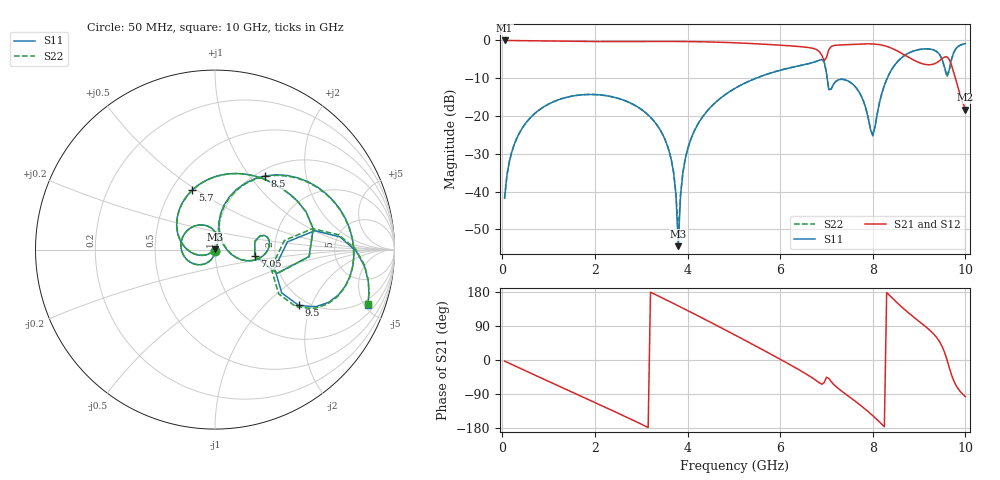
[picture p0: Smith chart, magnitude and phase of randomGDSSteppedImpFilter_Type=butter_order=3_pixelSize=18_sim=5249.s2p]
! freq	dB(S11)	phase(S11)	dB(S12)	phase(S12)
!  dB(S21)	phase(S21)	dB(S22)	phase(S22)
!S-par simulation data
#  GHz  S  DB  R 50
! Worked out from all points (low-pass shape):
!   200 points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, 50 MHz to 10 GHz, reference 50 ohm
!   highest |S21| = -0.01 dB at 50 MHz (marker M1); lowest = -18.3 dB at 10 GHz (marker M2)
!   |S21| within 3 dB of the highest: start of sweep to 6.85 GHz; 7.037 GHz to 8.564 GHz (1.527 GHz wide, 19.6 % of centre)
!   lowest |S11| = -54.4 dB at 3.8 GHz (marker M3), VSWR 1.00, Z = 49.8 + j0.109 ohm
!   |S11| at or under -10 dB: start of sweep to 5.478 GHz; 7.016 GHz to 8.312 GHz (1.296 GHz wide, 16.9 % of centre)
!   |S22| runs from -50.5 to -0.9 dB; largest |S21 - S12| = 0
!   S11 on the Smith chart (normalised r, x): 50 MHz: 1.00, -0.02; 5.7 GHz: 0.63, +0.48; 7.05 GHz: 1.56, -0.12; 8.5 GHz: 1.09, +1.19; 9.5 GHz: 1.80, -1.62; 10 GHz: 1.52, -5.25
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0.05  -41.71 -92.4  -0.01 -2.9  -0.01 -2.9  -41.71 -92.4
0.2  -29.71 -101.4  -0.02 -11.4  -0.02 -11.4  -29.71 -101.4
0.5  -21.99 -118.7  -0.06 -28.4  -0.06 -28.4  -21.99 -118.7
1.75  -14.35 170.9  -0.28 -98.3  -0.28 -98.3  -14.35 170.9
3.4  -23.49 77.3  -0.26 167.1  -0.26 167.1  -23.49 77.9
3.7  -35.02 63.1  -0.27 149.0  -0.27 149.0  -34.96 66.5
3.8  -54.42 145.0  -0.27 142.9  -0.27 142.9  -50.46 143.1
3.9  -34.98 -139.7  -0.28 136.7  -0.28 136.7  -34.89 -143.8
4.05  -26.86 -145.6  -0.30 127.5  -0.30 127.5  -26.85 -147.4
5.05  -12.50 153.0  -0.63 64.3  -0.63 64.3  -12.49 152.4
5.7  -9.00 111.0  -1.03 22.0  -1.03 22.0  -9.00 110.5
6.7  -5.87 40.7  -2.07 -47.6  -2.07 -47.6  -5.87 40.4
6.95  -5.58 -4.2  -5.34 -59.8  -5.34 -59.8  -5.58 -4.3
7.05  -13.00 -9.6  -2.46 -48.4  -2.46 -48.4  -12.97 -9.8
7.6  -11.95 -10.9  -1.04 -106.7  -1.04 -106.7  -11.95 -10.9
8  -25.25 32.1  -0.93 -146.9  -0.93 -146.9  -24.98 31.9
8.35  -9.00 70.5  -1.78 171.9  -1.78 171.9  -8.99 69.9
8.5  -6.10 55.9  -2.59 154.1  -2.59 154.1  -6.10 55.4
9.05  -2.31 5.4  -6.08 97.0  -6.08 97.0  -2.31 4.9
9.5  -5.04 -33.7  -4.80 35.0  -4.80 35.0  -5.15 -35.2
9.7  -4.94 10.7  -6.52 -38.9  -6.52 -38.9  -5.10 12.1
10  -0.86 -20.0  -18.31 -96.6  -18.31 -96.6  -0.87 -19.6
